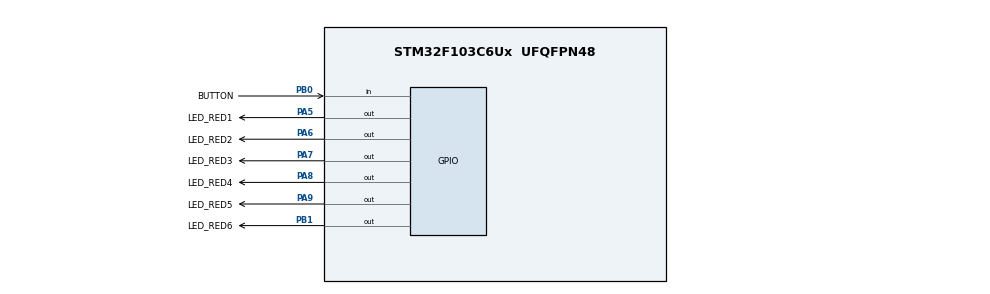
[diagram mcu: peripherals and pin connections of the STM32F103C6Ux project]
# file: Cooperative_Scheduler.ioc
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Mcu.Family=STM32F1
Mcu.Name=STM32F103C6Ux
Mcu.Package=UFQFPN48
NVIC.PriorityGroup=NVIC_PRIORITYGROUP_4
NVIC.TIM2_IRQn=true\:0\:0\:false\:false\:true\:true\:true
PA5.GPIO_Label=LED_RED1
PA5.Signal=GPIO_Output
PA6.GPIO_Label=LED_RED2
PA6.Signal=GPIO_Output
PA7.GPIO_Label=LED_RED3
PA7.Signal=GPIO_Output
PA8.GPIO_Label=LED_RED4
PA8.Signal=GPIO_Output
PA9.GPIO_Label=LED_RED5
PA9.Signal=GPIO_Output
PB0.GPIO_Label=BUTTON
PB0.GPIO_PuPd=GPIO_PULLUP
PB0.Signal=GPIO_Input
PB1.GPIO_Label=LED_RED6
PB1.Signal=GPIO_Output
ProjectManager.HeapSize=0x200
ProjectManager.StackSize=0x400
ProjectManager.TargetToolchain=STM32CubeIDE
RCC.APB1Freq_Value=8000000
RCC.APB2Freq_Value=8000000
TIM2.Period=10
TIM2.Prescaler=7999
VP_SYS_VS_ND.Mode=No_Debug
VP_TIM2_VS_ClockSourceINT.Mode=Internal
board=custom

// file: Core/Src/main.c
/* USER CODE BEGIN Header */
/**
  ******************************************************************************
  * @file           : main.c
  * @brief          : Main program body
  ******************************************************************************
  * @attention
  *
  * <h2><center>&copy; Copyright (c) 2022 STMicroelectronics.
  * All rights reserved.</center></h2>
  *
  * This software component is licensed by ST under BSD 3-Clause license,
  * the "License"; You may not use this file except in compliance with the
  * License. You may obtain a copy of the License at:
  *                        opensource.org/licenses/BSD-3-Clause
  *
  ******************************************************************************
  */
/* USER CODE END Header */
#include "main.h"

/* USER CODE BEGIN Includes */
#include "scheduler.h"
#include "button.h"
/* USER CODE END Includes */

TIM_HandleTypeDef htim2;

void SystemClock_Config(void);
static void MX_TIM2_Init(void);
static void MX_GPIO_Init(void);

/* USER CODE BEGIN 0 */
void led1test(){
	HAL_GPIO_TogglePin(LED_RED1_GPIO_Port, LED_RED1_Pin);
}
void led2test(){
	HAL_GPIO_TogglePin(LED_RED2_GPIO_Port, LED_RED2_Pin);
}
void led3test(){
	HAL_GPIO_TogglePin(LED_RED3_GPIO_Port, LED_RED3_Pin);
}
void led4test(){
	HAL_GPIO_TogglePin(LED_RED4_GPIO_Port, LED_RED4_Pin);
}
void led5test(){
	HAL_GPIO_TogglePin(LED_RED5_GPIO_Port, LED_RED5_Pin);
}
void led6test(){
	HAL_GPIO_TogglePin(LED_RED6_GPIO_Port, LED_RED6_Pin);
}
/* USER CODE END 0 */

int main(void)
{

  /* MCU Configuration--------------------------------------------------------*/

  /* Reset of all peripherals, Initializes the Flash interface and the Systick. */
  HAL_Init();

  /* Configure the system clock */
  SystemClock_Config();

  /* Initialize all configured peripherals */
  MX_TIM2_Init();
  MX_GPIO_Init();
  /* USER CODE BEGIN 2 */
  HAL_TIM_Base_Start_IT(&htim2);
  SCH_Init();
  SCH_Add_Task(led1test,50,50);
  SCH_Add_Task(led2test,60,100);
  SCH_Add_Task(led3test,70,150);
  SCH_Add_Task(led4test,80,200);
  SCH_Add_Task(led5test,200,0);
  /* USER CODE END 2 */

  /* Infinite loop */
  /* USER CODE BEGIN WHILE */
  while (1)
  {
	  SCH_Dispatch_Tasks();
	  if(isButtonPressed(0)){
		  SCH_Add_Task(led6test, 0, 0);
	  }
    /* USER CODE END WHILE */

  }
}

void SystemClock_Config(void)
{
  RCC_OscInitTypeDef RCC_OscInitStruct = {0};
  RCC_ClkInitTypeDef RCC_ClkInitStruct = {0};

  /** Initializes the RCC Oscillators according to the specified parameters
  * in the RCC_OscInitTypeDef structure.
  */
  RCC_OscInitStruct.OscillatorType = RCC_OSCILLATORTYPE_HSI;
  RCC_OscInitStruct.HSIState = RCC_HSI_ON;
  RCC_OscInitStruct.HSICalibrationValue = RCC_HSICALIBRATION_DEFAULT;
  RCC_OscInitStruct.PLL.PLLState = RCC_PLL_NONE;
  if (HAL_RCC_OscConfig(&RCC_OscInitStruct) != HAL_OK)
  {
    Error_Handler();
  }
  /** Initializes the CPU, AHB and APB buses clocks
  */
  RCC_ClkInitStruct.ClockType = RCC_CLOCKTYPE_HCLK|RCC_CLOCKTYPE_SYSCLK
                              |RCC_CLOCKTYPE_PCLK1|RCC_CLOCKTYPE_PCLK2;
  RCC_ClkInitStruct.SYSCLKSource = RCC_SYSCLKSOURCE_HSI;
  RCC_ClkInitStruct.AHBCLKDivider = RCC_SYSCLK_DIV1;
  RCC_ClkInitStruct.APB1CLKDivider = RCC_HCLK_DIV1;
  RCC_ClkInitStruct.APB2CLKDivider = RCC_HCLK_DIV1;

  if (HAL_RCC_ClockConfig(&RCC_ClkInitStruct, FLASH_LATENCY_0) != HAL_OK)
  {
    Error_Handler();
  }
}

static void MX_TIM2_Init(void)
{

  TIM_ClockConfigTypeDef sClockSourceConfig = {0};
  TIM_MasterConfigTypeDef sMasterConfig = {0};

  htim2.Instance = TIM2;
  htim2.Init.Prescaler = 7999;
  htim2.Init.CounterMode = TIM_COUNTERMODE_UP;
  htim2.Init.Period = 10;
  htim2.Init.ClockDivision = TIM_CLOCKDIVISION_DIV1;
  htim2.Init.AutoReloadPreload = TIM_AUTORELOAD_PRELOAD_DISABLE;
  if (HAL_TIM_Base_Init(&htim2) != HAL_OK)
  {
    Error_Handler();
  }
  sClockSourceConfig.ClockSource = TIM_CLOCKSOURCE_INTERNAL;
  if (HAL_TIM_ConfigClockSource(&htim2, &sClockSourceConfig) != HAL_OK)
  {
    Error_Handler();
  }
  sMasterConfig.MasterOutputTrigger = TIM_TRGO_RESET;
  sMasterConfig.MasterSlaveMode = TIM_MASTERSLAVEMODE_DISABLE;
  if (HAL_TIMEx_MasterConfigSynchronization(&htim2, &sMasterConfig) != HAL_OK)
  {
    Error_Handler();
  }

}

static void MX_GPIO_Init(void)
{
  GPIO_InitTypeDef GPIO_InitStruct = {0};

  /* GPIO Ports Clock Enable */
  __HAL_RCC_GPIOA_CLK_ENABLE();
  __HAL_RCC_GPIOB_CLK_ENABLE();

  /*Configure GPIO pin Output Level */
  HAL_GPIO_WritePin(GPIOA, LED_RED1_Pin|LED_RED2_Pin|LED_RED3_Pin|LED_RED4_Pin
                          |LED_RED5_Pin, GPIO_PIN_RESET);

  /*Configure GPIO pin Output Level */
  HAL_GPIO_WritePin(LED_RED6_GPIO_Port, LED_RED6_Pin, GPIO_PIN_RESET);

  /*Configure GPIO pins : LED_RED1_Pin LED_RED2_Pin LED_RED3_Pin LED_RED4_Pin
                           LED_RED5_Pin */
  GPIO_InitStruct.Pin = LED_RED1_Pin|LED_RED2_Pin|LED_RED3_Pin|LED_RED4_Pin
                          |LED_RED5_Pin;
  GPIO_InitStruct.Mode = GPIO_MODE_OUTPUT_PP;
  GPIO_InitStruct.Pull = GPIO_NOPULL;
  GPIO_InitStruct.Speed = GPIO_SPEED_FREQ_LOW;
  HAL_GPIO_Init(GPIOA, &GPIO_InitStruct);

  /*Configure GPIO pin : BUTTON_Pin */
  GPIO_InitStruct.Pin = BUTTON_Pin;
  GPIO_InitStruct.Mode = GPIO_MODE_INPUT;
  GPIO_InitStruct.Pull = GPIO_PULLUP;
  HAL_GPIO_Init(BUTTON_GPIO_Port, &GPIO_InitStruct);

  /*Configure GPIO pin : LED_RED6_Pin */
  GPIO_InitStruct.Pin = LED_RED6_Pin;
  GPIO_InitStruct.Mode = GPIO_MODE_OUTPUT_PP;
  GPIO_InitStruct.Pull = GPIO_NOPULL;
  GPIO_InitStruct.Speed = GPIO_SPEED_FREQ_LOW;
  HAL_GPIO_Init(LED_RED6_GPIO_Port, &GPIO_InitStruct);

}

void Error_Handler(void)
{
  __disable_irq();
  while (1)
  {
  }
}

/************************ (C) COPYRIGHT STMicroelectronics *****END OF FILE****/
